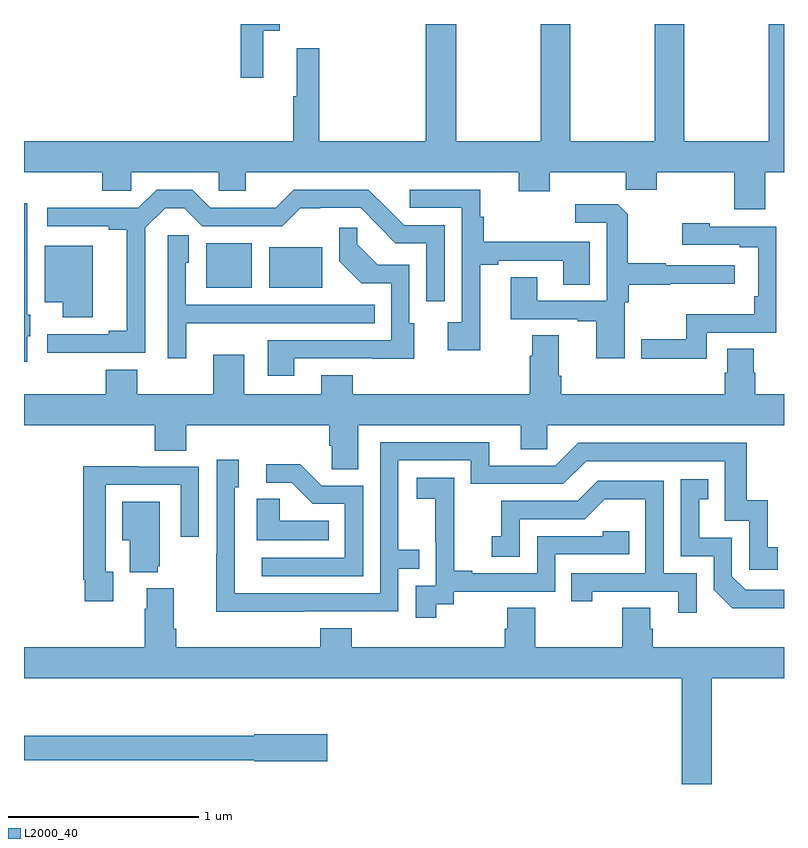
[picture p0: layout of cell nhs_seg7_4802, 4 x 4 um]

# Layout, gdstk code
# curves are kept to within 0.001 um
import gdstk
lib = gdstk.Library(unit=1e-6, precision=1e-09)
def R(c, l, rs):  # rectangles x0, y0, x1, y1
    for r in rs: c.add(gdstk.rectangle(r[:2], r[2:], *l))
def P(c, l, *ps):  # polygons
    for p in ps: c.add(gdstk.Polygon(p, *l))
L2000_40 = (2000, 40)

nhs_seg7_4802 = lib.new_cell('nhs_seg7_4802')
R(nhs_seg7_4802, L2000_40, [(411.959,1062.611,412.198,1062.847), (412.292,1062.611,412.57,1062.826)])
P(nhs_seg7_4802, L2000_40, [(414.901,1063.22),(415,1063.22),(415,1064),(414.919,1064),(414.919,1063.384),(414.474,1063.384),(414.474,1064),(414.319,1064),(414.319,1063.384),(413.874,1063.384),(413.874,1064),(413.719,1064),(413.719,1063.384),(413.274,1063.384),(413.274,1064),(413.114,1064),(413.114,1063.384),(412.553,1063.384),(412.553,1063.873),(412.436,1063.873),(412.436,1063.62),(412.417,1063.62),(412.417,1063.384),(411,1063.384),(411,1063.22),(411.413,1063.22),(411.413,1063.122),(411.564,1063.122),(411.564,1063.22),(412.026,1063.22),(412.026,1063.122),(412.168,1063.122),(412.168,1063.22),(413.603,1063.22),(413.603,1063.121),(413.767,1063.121),(413.767,1063.22),(414.167,1063.22),(414.167,1063.127),(414.331,1063.127),(414.331,1063.22),(414.737,1063.22),(414.737,1063.026),(414.901,1063.026)],
  [(412.259,1063.964),(412.345,1063.964),(412.345,1064),(412.141,1064),(412.141,1063.716),(412.259,1063.716)],
  [(411.335,1062.27),(411.639,1062.27),(411.639,1062.927),(411.743,1063.031),(411.844,1063.031),(411.939,1062.936),(412.359,1062.936),(412.454,1063.031),(412.773,1063.032),(412.863,1062.942),(412.861,1062.94),(412.955,1062.846),(413.118,1062.846),(413.118,1062.54),(413.214,1062.54),(413.214,1062.942),(413.001,1062.942),(412.813,1063.128),(412.419,1063.128),(412.325,1063.034),(412.22,1063.034),(412.22,1063.032),(411.981,1063.032),(411.885,1063.128),(411.698,1063.128),(411.602,1063.032),(411.369,1063.032),(411.369,1063.034),(411.123,1063.034),(411.123,1062.936),(411.446,1062.936),(411.446,1062.916),(411.542,1062.916),(411.542,1062.386),(411.446,1062.386),(411.446,1062.366),(411.123,1062.366),(411.123,1062.269)],
  [(413.401,1062.733),(413.497,1062.733),(413.497,1062.753),(413.837,1062.753),(413.837,1062.628),(413.977,1062.628),(413.977,1062.854),(413.42,1062.854),(413.42,1062.986),(413.402,1062.986),(413.402,1063.128),(413.031,1063.128),(413.031,1063.032),(413.304,1063.032),(413.304,1062.43),(413.229,1062.43),(413.229,1062.282),(413.401,1062.282)],
  [(411.016,1062.357),(411.034,1062.357),(411.034,1062.471),(411.016,1062.471),(411.016,1063.057),(411,1063.057),(411,1062.222),(411.016,1062.222)],
  [(414.162,1062.536),(414.182,1062.536),(414.182,1062.628),(414.401,1062.628),(414.401,1062.632),(414.742,1062.632),(414.742,1062.729),(414.377,1062.729),(414.377,1062.742),(414.177,1062.742),(414.177,1062.999),(414.125,1063.051),(413.901,1063.051),(413.901,1062.954),(414.066,1062.954),(414.066,1062.543),(413.701,1062.543),(413.701,1062.668),(413.561,1062.668),(413.561,1062.447),(413.915,1062.447),(413.915,1062.435),(414.011,1062.435),(414.011,1062.24),(414.162,1062.24)],
  [(414.594,1062.375),(414.96,1062.375),(414.96,1062.933),(414.609,1062.933),(414.609,1062.952),(414.465,1062.952),(414.465,1062.837),(414.767,1062.837),(414.767,1062.825),(414.864,1062.825),(414.864,1062.568),(414.844,1062.568),(414.844,1062.472),(414.486,1062.472),(414.486,1062.341),(414.249,1062.341),(414.249,1062.239),(414.594,1062.239)],
  [(412.423,1062.24),(413.053,1062.239),(413.053,1062.426),(413.028,1062.426),(413.028,1062.732),(412.862,1062.732),(412.754,1062.84),(412.754,1062.928),(412.659,1062.928),(412.659,1062.752),(412.775,1062.636),(412.932,1062.636),(412.932,1062.336),(412.283,1062.336),(412.283,1062.15),(412.423,1062.15)],
  [(411.853,1062.425),(412.187,1062.425),(412.187,1062.426),(412.847,1062.426),(412.847,1062.522),(411.852,1062.522),(411.852,1062.744),(411.868,1062.744),(411.868,1062.887),(411.756,1062.887),(411.756,1062.24),(411.853,1062.24)],
  [(411.361,1062.832),(411.11,1062.832),(411.11,1062.536),(411.203,1062.536),(411.203,1062.456),(411.361,1062.456)],
  [(412.759,1061.888),(413.615,1061.888),(413.615,1061.761),(413.754,1061.761),(413.754,1061.888),(415,1061.888),(415,1062.052),(414.849,1062.052),(414.849,1062.165),(414.841,1062.165),(414.841,1062.29),(414.701,1062.29),(414.701,1062.165),(414.689,1062.165),(414.689,1062.052),(413.828,1062.052),(413.828,1062.148),(413.815,1062.148),(413.815,1062.362),(413.675,1062.362),(413.675,1062.254),(413.663,1062.254),(413.663,1062.052),(412.729,1062.052),(412.729,1062.151),(412.565,1062.151),(412.565,1062.052),(412.159,1062.052),(412.159,1062.259),(411.995,1062.259),(411.995,1062.052),(411.595,1062.052),(411.595,1062.181),(411.431,1062.181),(411.431,1062.052),(411,1062.052),(411,1061.888),(411.689,1061.888),(411.689,1061.755),(411.854,1061.755),(411.854,1061.888),(412.607,1061.888),(412.607,1061.779),(412.62,1061.779),(412.62,1061.656),(412.759,1061.656)],
  [(412.475,1060.908),(412.971,1060.908),(412.971,1061.133),(413.081,1061.133),(413.081,1061.234),(412.971,1061.234),(412.971,1061.703),(413.352,1061.703),(413.352,1061.58),(413.838,1061.58),(413.958,1061.7),(414.687,1061.7),(414.687,1061.385),(414.816,1061.385),(414.816,1061.127),(414.967,1061.127),(414.967,1061.247),(414.914,1061.247),(414.914,1061.494),(414.803,1061.494),(414.803,1061.796),(413.916,1061.796),(413.796,1061.676),(413.449,1061.676),(413.449,1061.799),(412.875,1061.799),(412.875,1061.004),(412.11,1061.004),(412.11,1061.562),(412.129,1061.562),(412.129,1061.707),(412.014,1061.707),(412.014,1061.213),(412.012,1061.213),(412.012,1060.907)],
  [(412.785,1061.571),(412.566,1061.571),(412.453,1061.684),(412.275,1061.684),(412.275,1061.586),(412.409,1061.586),(412.52,1061.475),(412.689,1061.475),(412.689,1061.19),(412.251,1061.19),(412.251,1061.094),(412.785,1061.094)],
  [(411.469,1061.118),(411.429,1061.118),(411.429,1061.574),(411.825,1061.574),(411.825,1061.301),(411.921,1061.301),(411.921,1061.67),(411.605,1061.67),(411.605,1061.672),(411.313,1061.672),(411.313,1061.074),(411.321,1061.074),(411.321,1060.962),(411.469,1060.962)],
  [(413.17,1060.945),(413.262,1060.945),(413.262,1061.013),(413.796,1061.013),(413.796,1061.208),(414.185,1061.208),(414.185,1061.331),(414.045,1061.331),(414.045,1061.304),(413.7,1061.304),(413.7,1061.109),(413.359,1061.109),(413.359,1061.122),(413.264,1061.122),(413.264,1061.405),(413.265,1061.405),(413.265,1061.611),(413.067,1061.611),(413.067,1061.501),(413.165,1061.501),(413.165,1061.273),(413.166,1061.273),(413.166,1061.043),(413.061,1061.043),(413.061,1060.875),(413.17,1060.875)],
  [(415,1061.022),(414.798,1061.022),(414.726,1061.094),(414.726,1061.295),(414.553,1061.295),(414.553,1061.499),(414.602,1061.499),(414.602,1061.605),(414.456,1061.605),(414.456,1061.199),(414.63,1061.199),(414.63,1061.022),(414.728,1060.925),(415,1060.925)],
  [(414.54,1061.109),(414.366,1061.109),(414.366,1061.595),(414.02,1061.595),(413.915,1061.49),(413.512,1061.49),(413.512,1061.305),(413.463,1061.305),(413.463,1061.196),(413.61,1061.196),(413.61,1061.394),(413.952,1061.394),(414.056,1061.498),(414.27,1061.498),(414.27,1061.109),(413.881,1061.109),(413.881,1060.962),(413.992,1060.962),(413.992,1061.013),(414.443,1061.013),(414.443,1060.902),(414.54,1060.902)],
  [(412.604,1061.386),(412.347,1061.386),(412.347,1061.501),(412.226,1061.501),(412.226,1061.282),(412.604,1061.282)],
  [(411.704,1061.145),(411.715,1061.145),(411.715,1061.485),(411.518,1061.485),(411.518,1061.282),(411.557,1061.282),(411.557,1061.114),(411.704,1061.114)],
  [(414.621,1060.556),(415,1060.556),(415,1060.72),(414.308,1060.72),(414.308,1060.818),(414.295,1060.818),(414.295,1060.928),(414.148,1060.928),(414.148,1060.72),(413.691,1060.72),(413.691,1060.928),(413.543,1060.928),(413.543,1060.818),(413.531,1060.818),(413.531,1060.72),(412.724,1060.72),(412.724,1060.819),(412.559,1060.819),(412.559,1060.72),(411.8,1060.72),(411.8,1060.816),(411.787,1060.816),(411.787,1061.029),(411.647,1061.029),(411.647,1060.922),(411.635,1060.922),(411.635,1060.72),(411,1060.72),(411,1060.556),(414.461,1060.556),(414.461,1060),(414.621,1060)],
  [(412.597,1060.263),(412.212,1060.263),(412.212,1060.255),(411,1060.255),(411,1060.126),(412.212,1060.126),(412.212,1060.121),(412.597,1060.121)])

lib.write_gds('nhs_seg7_4802.gds')
